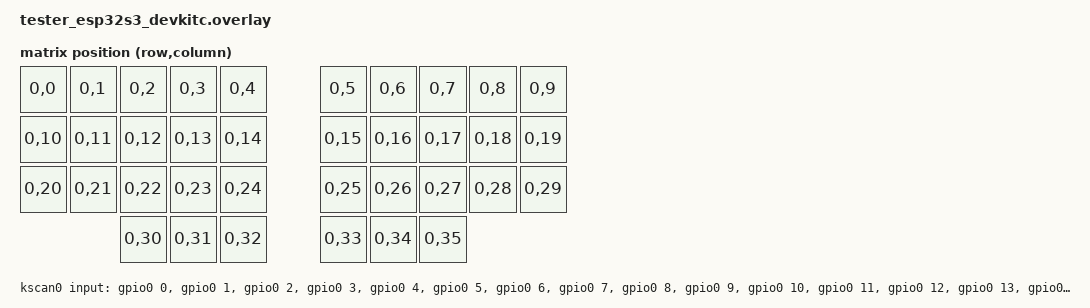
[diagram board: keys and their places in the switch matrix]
#include <dt-bindings/zmk/matrix_transform.h>
#include "tester_rpi_pico-layouts.dtsi"

&physical_layout0 {
    transform = <&transform0>;
};

&physical_layout1 {
    transform = <&transform0>;
};

/ {
    chosen {
        zmk,kscan = &kscan0;
        zmk,physical-layout = &physical_layout0;
    };

    kscan0: kscan {
        compatible = "zmk,kscan-gpio-direct";
        wakeup-source;
        debounce-press-ms = <10>;
        debounce-release-ms = <10>;
        input-gpios
            = <&gpio0 0 (GPIO_ACTIVE_LOW | GPIO_PULL_UP)>
            , <&gpio0 1 (GPIO_ACTIVE_LOW | GPIO_PULL_UP)>
            , <&gpio0 2 (GPIO_ACTIVE_LOW | GPIO_PULL_UP)>
            , <&gpio0 3 (GPIO_ACTIVE_LOW | GPIO_PULL_UP)>
            , <&gpio0 4 (GPIO_ACTIVE_LOW | GPIO_PULL_UP)>
            , <&gpio0 5 (GPIO_ACTIVE_LOW | GPIO_PULL_UP)>
            , <&gpio0 6 (GPIO_ACTIVE_LOW | GPIO_PULL_UP)>
            , <&gpio0 7 (GPIO_ACTIVE_LOW | GPIO_PULL_UP)>
            , <&gpio0 8 (GPIO_ACTIVE_LOW | GPIO_PULL_UP)>
            , <&gpio0 9 (GPIO_ACTIVE_LOW | GPIO_PULL_UP)>
            , <&gpio0 10 (GPIO_ACTIVE_LOW | GPIO_PULL_UP)>
            , <&gpio0 11 (GPIO_ACTIVE_LOW | GPIO_PULL_UP)>
            , <&gpio0 12 (GPIO_ACTIVE_LOW | GPIO_PULL_UP)>
            , <&gpio0 13 (GPIO_ACTIVE_LOW | GPIO_PULL_UP)>
            , <&gpio0 14 (GPIO_ACTIVE_LOW | GPIO_PULL_UP)>
            , <&gpio0 15 (GPIO_ACTIVE_LOW | GPIO_PULL_UP)>
            , <&gpio0 16 (GPIO_ACTIVE_LOW | GPIO_PULL_UP)>
            , <&gpio0 17 (GPIO_ACTIVE_LOW | GPIO_PULL_UP)>
            , <&gpio0 18 (GPIO_ACTIVE_LOW | GPIO_PULL_UP)>
            , <&gpio0 19 (GPIO_ACTIVE_LOW | GPIO_PULL_UP)>
            , <&gpio0 20 (GPIO_ACTIVE_LOW | GPIO_PULL_UP)>
            , <&gpio0 21 (GPIO_ACTIVE_LOW | GPIO_PULL_UP)>
            , <&gpio0 22 (GPIO_ACTIVE_LOW | GPIO_PULL_UP)>
            , <&gpio0 33 (GPIO_ACTIVE_LOW | GPIO_PULL_UP)>
            , <&gpio0 36 (GPIO_ACTIVE_LOW | GPIO_PULL_UP)>
            , <&gpio0 37 (GPIO_ACTIVE_LOW | GPIO_PULL_UP)>
            , <&gpio0 38 (GPIO_ACTIVE_LOW | GPIO_PULL_UP)>
            , <&gpio0 39 (GPIO_ACTIVE_LOW | GPIO_PULL_UP)>
            , <&gpio0 40 (GPIO_ACTIVE_LOW | GPIO_PULL_UP)>
            , <&gpio0 41 (GPIO_ACTIVE_LOW | GPIO_PULL_UP)>
            , <&gpio0 42 (GPIO_ACTIVE_LOW | GPIO_PULL_UP)>
            , <&gpio0 43 (GPIO_ACTIVE_LOW | GPIO_PULL_UP)>
            , <&gpio0 46 (GPIO_ACTIVE_LOW | GPIO_PULL_UP)>
            , <&gpio0 47 (GPIO_ACTIVE_LOW | GPIO_PULL_UP)>
            , <&gpio0 48 (GPIO_ACTIVE_LOW | GPIO_PULL_UP)>
            ;
    };

    transform0: keymap_transform {
        compatible = "zmk,matrix-transform";
        columns = <36>;
        rows = <1>;
        map = <
        RC(0,0)  RC(0,1)  RC(0,2)  RC(0,3)  RC(0,4)  RC(0,5)  RC(0,6)  RC(0,7)  RC(0,8)  RC(0,9)
        RC(0,10) RC(0,11) RC(0,12) RC(0,13) RC(0,14) RC(0,15) RC(0,16) RC(0,17) RC(0,18) RC(0,19)
        RC(0,20) RC(0,21) RC(0,22) RC(0,23) RC(0,24) RC(0,25) RC(0,26) RC(0,27) RC(0,28) RC(0,29)
        RC(0,30) RC(0,31) RC(0,32) RC(0,33) RC(0,34) RC(0,35)
        >;
    };
};
